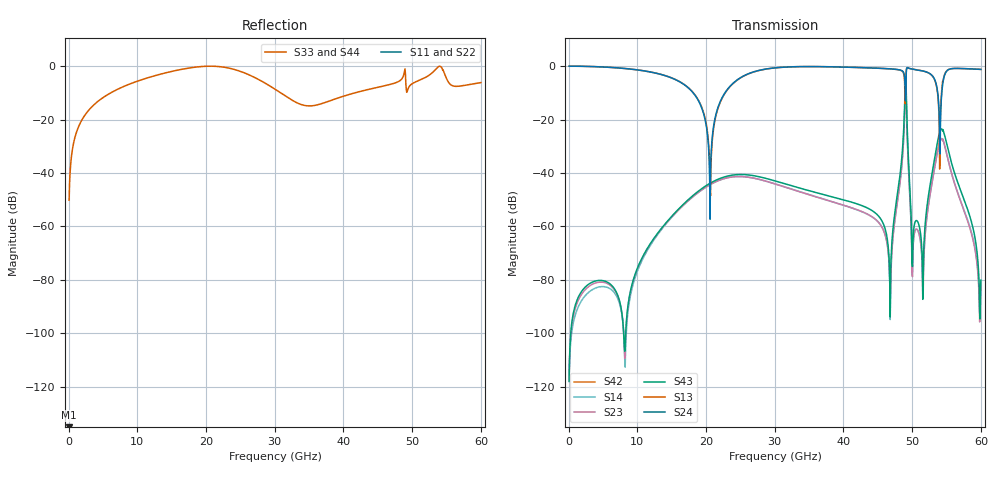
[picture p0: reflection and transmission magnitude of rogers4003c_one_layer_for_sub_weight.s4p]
! TOUCHSTONE file generated by CST MICROWAVE STUDIO
! Date and time: Tue May  6 13:55:34 2025
! Project name: rogers4003c_one_layer_for_sub_weight.cst
! Parameters = {h=2.5; lambda=10; period=5; phi=0; theta=0; thickness=0.508; w_mesh_1=2; w_mesh_2=2; w_patch_1=1.6; w_patch_2=1.6}
! Header version: 2018
! Port assignment regex: !\s*Touchstone port\s*([0-9]+)\s*=\s*(CST MWS port|CST DS port)\s*([0-9]+|Zmin|Zmax)\s*\(\"(.*)\"\)(\s*mode\s*([0-9]+))?.*
! Touchstone port assignment:
! Touchstone port 1 = CST MWS port Zmin ("") mode 1
! Touchstone port 2 = CST MWS port Zmin ("") mode 2
! Touchstone port 3 = CST MWS port Zmax ("") mode 1
! Touchstone port 4 = CST MWS port Zmax ("") mode 2
! S-Parameters are not renormalized. Unphysical impedance of 50 will be written to the file.
# GHz S RI R 50
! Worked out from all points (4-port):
!   1003 points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, 60 MHz to 60 GHz, reference per port
!   strongest paths, dB at 60 MHz, 15 GHz, 30 GHz, 45 GHz, 60 GHz:
!     S24: 0.0, -4.4, -0.6, -0.8, -1.2
!     S13: 0.0, -4.4, -0.7, -0.8, -1.2
!     S43: -118.1, -56.2, -42.9, -55.8, -80.1
!     S23: -117.8, -56.5, -44.1, -58.2, -82.5
!     S14: -116.1, -56.6, -44.1, -58.2, -83.1
!     S42: -, -, -, -, -
!   lowest |S11| = - dB at 60 MHz (marker M1), VSWR 1.00
!   |S11| at or under -10 dB: start of sweep to end of sweep
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0.06  0 0  0 0  1 -0.000605  2.06e-07 -1.56e-06
      0 0  0 0  4.2e-07 -1.21e-06  1 -0.000596
      0 0  0 0  3.07e-06 -0.0031  2.71e-07 -1.16e-06
      0 0  0 0  6.77e-07 -1.05e-06  -1.44e-07 -0.00311
24.42  0 0  0 0  -0.2272 0.4845  -0.00113 -0.00852
       0 0  0 0  -0.00112 -0.00847  -0.2263 0.4912
       0 0  0 0  -0.8398 -0.0909  -0.00372 -0.00854
       0 0  0 0  -0.00367 -0.00855  -0.8369 -0.0841
46.74  0 0  0 0  0.0936 0.8862  -8.29e-05 2.17e-05
       0 0  0 0  -6.09e-05 7.12e-05  0.0914 0.8873
       0 0  0 0  0.4531 -0.0237  -5.63e-05 8.92e-05
       0 0  0 0  -4.31e-05 6.88e-05  0.4515 -0.0206
49.02  0 0  0 0  -0.2944 0.1767  -0.3576 -0.0431
       0 0  0 0  -0.357 -0.0431  0.0499 0.2181
       0 0  0 0  -0.5064 -0.4881  -0.4325 0.2665
       0 0  0 0  -0.4324 0.2665  -0.09 -0.7444
50.16  0 0  0 0  0.00419 0.8756  -0.000458 0.000183
       0 0  0 0  -0.000447 0.00017  0.00439 0.8755
       0 0  0 0  0.4829 0.0129  -0.000338 0.000613
       0 0  0 0  -0.000349 0.000602  0.483 0.0127
54.36  0 0  0 0  -0.4218 -0.00238  -0.0396 0.0171
       0 0  0 0  -0.0395 0.0176  -0.3763 -0.0222
       0 0  0 0  -0.7525 -0.4998  -0.0237 0.061
       0 0  0 0  -0.0231 0.0614  -0.7257 -0.5704
60  0 0  0 0  -0.3589 0.7929  -5.83e-05 -3.84e-05
    0 0  0 0  -7.49e-05 -3.78e-06  -0.3599 0.7927
    0 0  0 0  0.4021 0.2845  -7.94e-05 6.96e-05
    0 0  0 0  -7.83e-05 5.98e-05  0.401 0.2855
